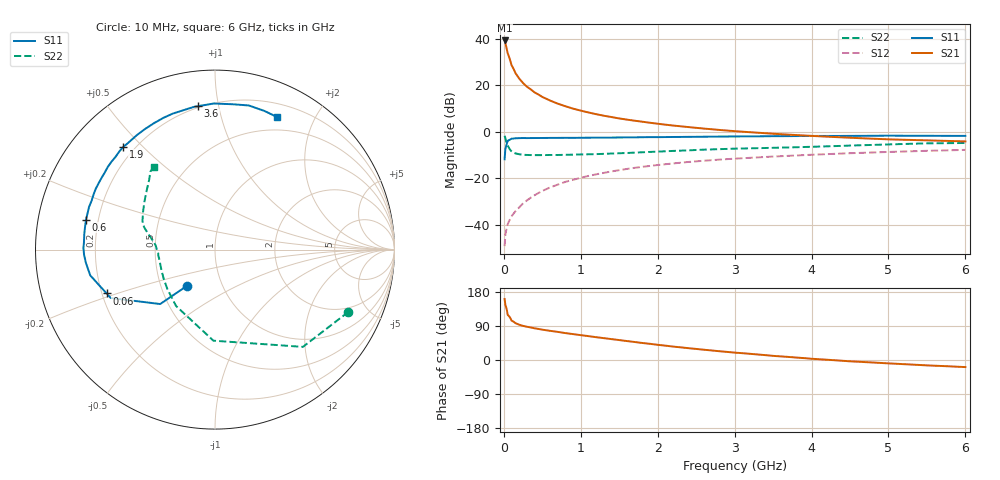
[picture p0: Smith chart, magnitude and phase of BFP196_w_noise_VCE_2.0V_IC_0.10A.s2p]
! Infineon Technologies  Discrete & RF Semiconductors
! BFP196
! VCE =  2.0 V,  IC = 0.10 A
! Common Emitter S-Parameters:  Jan 2017
# GHz  S  MA  R  50
!  f  S11  S21  S12  S22
! GHz  MAG  ANG  MAG  ANG  MAG  ANG  MAG  ANG
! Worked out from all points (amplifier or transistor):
!   77 points, 10 MHz to 6 GHz, reference 50 ohm
!   highest |S21| = 39.2 dB at 10 MHz (marker M1)
!   |S21| within 3 dB of that: start of sweep to 33.21 MHz
!   unconditionally stable (mu >= 1): 289.3 MHz to 2.637 GHz
!   at 130 MHz: K = 0.82, MSG = 30.9 dB, |S12| = -35.0 dB
!   at 2.2 GHz: K = 1.02, MAG = 7.3 dB, |S12| = -13.6 dB
!   at 6 GHz: K = 0.98, MSG = 1.8 dB, |S12| = -7.8 dB
!   lowest NFmin = 2.04 dB at 450 MHz
!   S11 on the Smith chart (normalised r, x): 10 MHz: 0.68, -0.29; 60 MHz: 0.22, -0.19; 600 MHz: 0.15, +0.11; 1.9 GHz: 0.16, +0.44; 3.6 GHz: 0.19, +0.87; 6 GHz: 0.35, +1.52
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0.01  0.2566 -127.8  91.16 160.9  0.0035 77.3  0.8197 -25.1
0.02  0.4304 -135.2  80.05 145.3  0.0062 66.6  0.7305 -47.9
0.05  0.6405 -155.1  48.36 119.1  0.0103 55.7  0.5076 -91.0
0.06  0.6514 -158.0  43.9 117.2  0.0113 56.6  0.4716 -96.1
0.1  0.7096 -168.3  26.9 103.8  0.0152 59.1  0.3819 -124.6
0.15  0.7235 -174.3  18.3 97.4  0.0196 62.7  0.3437 -140.8
0.2  0.7301 -177.8  13.83 93.1  0.0238 66.5  0.3291 -150.2
0.25  0.7333 179.3  11.1 90.0  0.0291 68.1  0.3214 -156.4
0.3  0.7313 177.1  9.264 87.7  0.0336 69.2  0.3177 -161.0
0.35  0.7319 175.2  8.122 85.9  0.0385 70.4  0.3161 -163.8
0.4  0.7333 173.3  6.99 83.6  0.0434 71.4  0.3152 -166.7
0.5  0.7351 170.0  5.597 80.1  0.0536 71.1  0.3153 -170.7
0.6  0.7378 166.9  4.685 77.0  0.0637 70.3  0.3174 -173.8
0.8  0.741 161.3  3.526 71.0  0.084 69.3  0.3199 -178.0
1.1  0.7458 153.0  2.593 63.0  0.1127 65.6  0.3287 177.3
1.9  0.7672 131.7  1.561 42.7  0.1847 53.8  0.3689 168.6
2.1  0.7687 126.7  1.421 37.9  0.201 50.6  0.3812 166.8
3.1  0.7939 105.5  1.004 18.0  0.2701 36.1  0.4374 157.3
3.6  0.8048 96.7  0.887 9.5  0.2988 29.7  0.4563 151.1
4.1  0.8132 89.0  0.8 2.0  0.3258 23.4  0.4809 144.3
5.1  0.8231 75.5  0.68 -9.9  0.3726 11.5  0.5406 132.5
6  0.8154 64.8  0.621 -18.7  0.4085 1.5  0.5741 126.3
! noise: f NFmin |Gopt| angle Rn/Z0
0.45  2.04  0.54  -169  0.07
0.9  2.24  0.56  -156  0.12
1.9  3.18  0.71  -128  0.52
2.4  3.65  0.7  -115  1.08
